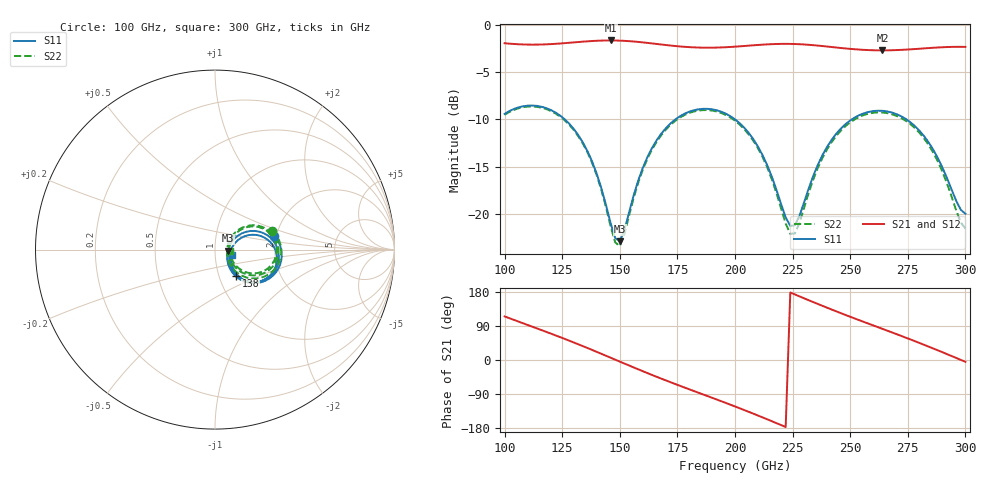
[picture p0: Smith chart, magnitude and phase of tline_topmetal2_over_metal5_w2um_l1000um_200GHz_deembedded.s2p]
! Created with skrf 2.0.1 (http://scikit-rf.org).
# GHz S DB R 50.0
!freq dBS11 angS11 dBS21 angS21 dBS12 angS12 dBS22 angS22
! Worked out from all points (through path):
!   101 points, 100 GHz to 300 GHz, reference 50 ohm
!   highest |S21| = -1.66 dB at 146 GHz (marker M1); lowest = -2.7 dB at 264 GHz (marker M2)
!   group delay of S21, straight-line fit = 6.68 ps
!   lowest |S11| = -22.9 dB at 150 GHz (marker M3), VSWR 1.15, Z = 57.7 - j0.644 ohm
!   |S11| at or under -10 dB: 126.1 GHz to 174.2 GHz (48.08 GHz wide, 32 % of centre); 200 GHz to 250.8 GHz (50.77 GHz wide, 22.5 % of centre); 274.4 GHz to end of sweep
!   |S22| runs from -23.4 to -8.6 dB; largest |S21 - S12| = 9.3e-14
!   S11 on the Smith chart (normalised r, x): 100 GHz: 1.94, +0.34; 138 GHz: 1.20, -0.37; 300 GHz: 1.21, -0.07
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100  -9.42 13.3  -1.95 115.1  -1.95 115.1  -9.52 18.5
108  -8.62 -1.6  -2.08 96.9  -2.08 96.9  -8.72 3.9
118  -8.81 -20.3  -2.07 74.4  -2.07 74.4  -8.91 -14.4
126  -9.98 -34.9  -1.95 55.8  -1.95 55.8  -10.08 -28.7
134  -12.46 -47.8  -1.79 36.5  -1.79 36.5  -12.58 -41.5
138  -14.47 -52.1  -1.72 26.5  -1.72 26.5  -14.61 -45.8
146  -20.96 -40.2  -1.66 6.1  -1.66 6.1  -21.29 -34.2
150  -22.89 -4.4  -1.68 -4.2  -1.68 -4.2  -23.41 3.2
160  -15.12 31.1  -1.87 -29.6  -1.87 -29.6  -15.31 40.2
168  -11.52 22.1  -2.09 -49.1  -2.09 -49.1  -11.67 31.3
184  -8.94 -5.3  -2.41 -86.0  -2.41 -86.0  -9.08 4.1
200  -10.00 -33.3  -2.32 -122.6  -2.32 -122.6  -10.14 -23.7
212  -13.81 -49.5  -2.11 -151.5  -2.11 -151.5  -14.00 -40.2
224  -21.27 -19.8  -2.03 178.1  -2.03 178.1  -22.10 -9.9
228  -20.19 9.1  -2.06 167.9  -2.06 167.9  -20.93 22.2
234  -15.96 24.1  -2.16 152.7  -2.16 152.7  -16.34 37.8
248  -10.51 10.7  -2.51 118.8  -2.51 118.8  -10.71 23.8
264  -9.10 -15.9  -2.71 82.2  -2.71 82.2  -9.28 -3.0
268  -9.27 -22.6  -2.70 73.1  -2.70 73.1  -9.45 -9.8
284  -12.42 -45.9  -2.47 35.4  -2.47 35.4  -12.69 -34.3
292  -16.21 -47.3  -2.36 15.6  -2.36 15.6  -16.76 -37.3
300  -19.98 -16.6  -2.34 -4.7  -2.34 -4.7  -21.55 -3.5
